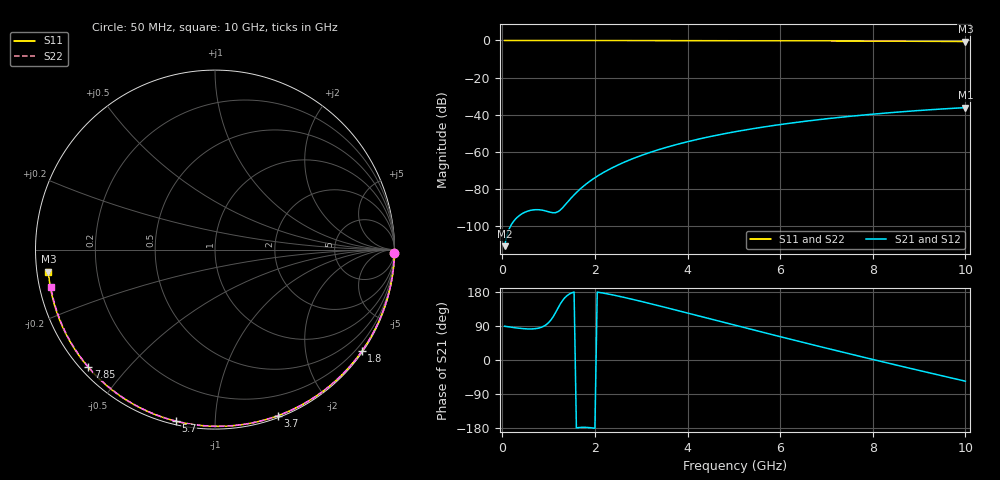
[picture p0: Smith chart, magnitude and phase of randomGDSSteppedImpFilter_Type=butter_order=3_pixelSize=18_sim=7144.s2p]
! freq	dB(S11)	phase(S11)	dB(S12)	phase(S12)
!  dB(S21)	phase(S21)	dB(S22)	phase(S22)
!S-par simulation data
#  GHz  S  DB  R 50
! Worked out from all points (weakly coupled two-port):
!   200 points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, 50 MHz to 10 GHz, reference 50 ohm
!   highest |S21| = -36.25 dB at 10 GHz (marker M1); lowest = -111.0 dB at 50 MHz (marker M2)
!   lowest |S11| = -0.6 dB at 10 GHz (marker M3), VSWR 30.44, Z = 1.65 - j3.31 ohm
!   |S11| at or under -10 dB: nowhere
!   |S22| runs from -0.6 to 0.0 dB; largest |S21 - S12| = 0
!   S11 on the Smith chart (normalised r, x): 50 MHz: open; 1.8 GHz: 0.03, -3.20; 3.7 GHz: 0.02, -1.45; 5.7 GHz: 0.02, -0.80; 7.85 GHz: 0.02, -0.39; 10 GHz: 0.03, -0.07
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0.05  -0.00 -1.0  -111.04 89.1  -111.04 89.1  -0.00 -1.0
0.45  -0.01 -8.8  -93.20 82.7  -93.20 82.7  -0.01 -8.7
0.85  -0.02 -16.6  -91.56 86.6  -91.56 86.6  -0.02 -16.4
1.65  -0.04 -31.9  -80.92 -178.3  -80.92 -178.3  -0.04 -31.4
1.7  -0.04 -32.8  -79.79 -177.8  -79.79 -177.8  -0.04 -32.4
1.75  -0.04 -33.8  -78.73 -177.7  -78.73 -177.7  -0.04 -33.3
1.8  -0.04 -34.7  -77.71 -177.8  -77.71 -177.8  -0.04 -34.2
2.1  -0.05 -40.3  -72.52 178.2  -72.52 178.2  -0.05 -39.8
2.45  -0.06 -46.8  -67.80 170.1  -67.80 170.1  -0.06 -46.2
2.9  -0.07 -55.0  -63.01 157.6  -63.01 157.6  -0.07 -54.3
3.4  -0.08 -64.0  -58.77 142.5  -58.77 142.5  -0.08 -63.1
3.7  -0.09 -69.3  -56.60 133.3  -56.60 133.3  -0.09 -68.3
4.35  -0.11 -80.5  -52.63 113.0  -52.63 113.0  -0.11 -79.3
5.05  -0.14 -92.3  -49.16 91.0  -49.16 91.0  -0.14 -90.8
5.7  -0.17 -102.9  -46.49 70.8  -46.49 70.8  -0.17 -101.2
6.2  -0.20 -111.0  -44.71 55.5  -44.71 55.5  -0.20 -109.0
6.7  -0.23 -118.9  -43.14 40.2  -43.14 40.2  -0.23 -116.7
7.25  -0.27 -127.7  -41.60 23.7  -41.60 23.7  -0.27 -125.1
7.85  -0.32 -137.1  -40.13 5.9  -40.13 5.9  -0.32 -134.2
8.35  -0.37 -145.1  -39.04 -8.8  -39.04 -8.8  -0.36 -141.7
9.2  -0.47 -158.9  -37.46 -33.3  -37.46 -33.3  -0.45 -154.7
10  -0.57 -172.4  -36.25 -55.9  -36.25 -55.9  -0.55 -167.1
